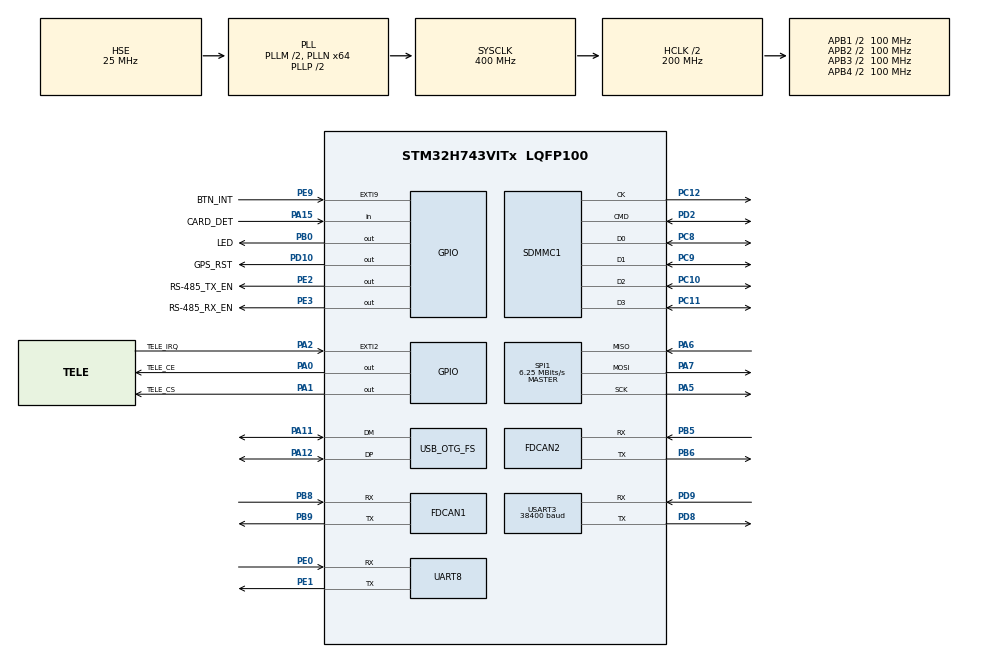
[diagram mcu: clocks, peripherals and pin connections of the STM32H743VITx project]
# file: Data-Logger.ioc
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Dma.Request0=USART3_RX
Dma.USART3_RX.0.Direction=DMA_PERIPH_TO_MEMORY
Dma.USART3_RX.0.EventEnable=DISABLE
Dma.USART3_RX.0.FIFOMode=DMA_FIFOMODE_DISABLE
Dma.USART3_RX.0.Instance=DMA1_Stream1
Dma.USART3_RX.0.MemDataAlignment=DMA_MDATAALIGN_BYTE
Dma.USART3_RX.0.MemInc=DMA_MINC_ENABLE
Dma.USART3_RX.0.Mode=DMA_CIRCULAR
Dma.USART3_RX.0.PeriphDataAlignment=DMA_PDATAALIGN_BYTE
Dma.USART3_RX.0.PeriphInc=DMA_PINC_DISABLE
Dma.USART3_RX.0.Polarity=HAL_DMAMUX_REQ_GEN_RISING
Dma.USART3_RX.0.Priority=DMA_PRIORITY_LOW
Dma.USART3_RX.0.RequestNumber=1
Dma.USART3_RX.0.SignalID=NONE
Dma.USART3_RX.0.SyncEnable=DISABLE
Dma.USART3_RX.0.SyncPolarity=HAL_DMAMUX_SYNC_NO_EVENT
Dma.USART3_RX.0.SyncRequestNumber=1
Dma.USART3_RX.0.SyncSignalID=NONE
FATFS.BSP.number=1
FATFS.USE_DMA_CODE_SD=1
FATFS._MAX_SS=512
FATFS._MIN_SS=512
FATFS0.BSP.STBoard=false
FATFS0.BSP.api=Unknown
FATFS0.BSP.i2caddr=0
FATFS0.BSP.instance=PA15 (JTDI)
FATFS0.BSP.ip=GPIO
FATFS0.BSP.mode=Input
FATFS0.BSP.name=Detect_SDIO
FATFS0.BSP.solution=PA15 (JTDI)
FDCAN1.DataPrescaler=10
FDCAN1.DataSyncJumpWidth=1
FDCAN1.DataTimeSeg1=3
FDCAN1.DataTimeSeg2=3
FDCAN1.ExtFiltersNbr=2
FDCAN1.FrameFormat=FDCAN_FRAME_CLASSIC
FDCAN1.NominalPrescaler=10
FDCAN1.NominalSyncJumpWidth=1
FDCAN1.NominalTimeSeg1=3
FDCAN1.NominalTimeSeg2=3
FDCAN1.RxFifo0ElmtSize=FDCAN_DATA_BYTES_64
FDCAN1.RxFifo0ElmtsNbr=64
FDCAN1.StdFiltersNbr=2
Mcu.Family=STM32H7
Mcu.Name=STM32H743VITx
Mcu.Package=LQFP100
NVIC.DMA1_Stream1_IRQn=true\:0\:0\:false\:false\:true\:false\:true
NVIC.EXTI9_5_IRQn=true\:0\:0\:false\:false\:true\:true\:true
NVIC.FDCAN1_IT0_IRQn=true\:0\:0\:false\:false\:true\:true\:true
NVIC.FDCAN1_IT1_IRQn=true\:0\:0\:false\:false\:true\:true\:true
NVIC.OTG_FS_IRQn=true\:0\:0\:false\:false\:true\:false\:true
NVIC.PVD_AVD_IRQn=true\:0\:0\:false\:false\:true\:true\:true
NVIC.PriorityGroup=NVIC_PRIORITYGROUP_4
NVIC.SDMMC1_IRQn=true\:0\:0\:false\:false\:true\:true\:true
PA0.GPIO_Label=TELE_CE
PA0.Signal=GPIO_Output
PA1.GPIO_Label=TELE_CS
PA1.Signal=GPIO_Output
PA11.Mode=Device_Only
PA11.Signal=USB_OTG_FS_DM
PA12.Mode=Device_Only
PA12.Signal=USB_OTG_FS_DP
PA13\ (JTMS/SWDIO).Mode=Trace_Asynchronous_SW
PA13\ (JTMS/SWDIO).Signal=DEBUG_JTMS-SWDIO
PA14\ (JTCK/SWCLK).Mode=Trace_Asynchronous_SW
PA14\ (JTCK/SWCLK).Signal=DEBUG_JTCK-SWCLK
PA15\ (JTDI).GPIO_Label=CARD_DET
PA15\ (JTDI).Signal=GPIO_Input
PA2.GPIO_Label=TELE_IRQ
PA2.Signal=GPXTI2
PA5.GPIO_Speed=GPIO_SPEED_FREQ_VERY_HIGH
PA5.Mode=Full_Duplex_Master
PA5.Signal=SPI1_SCK
PA6.GPIO_Speed=GPIO_SPEED_FREQ_VERY_HIGH
PA6.Mode=Full_Duplex_Master
PA6.Signal=SPI1_MISO
PA7.GPIO_Speed=GPIO_SPEED_FREQ_VERY_HIGH
PA7.Mode=Full_Duplex_Master
PA7.Signal=SPI1_MOSI
PB0.GPIO_Label=LED
PB0.Signal=GPIO_Output
PB3\ (JTDO/TRACESWO).Mode=Trace_Asynchronous_SW
PB3\ (JTDO/TRACESWO).Signal=DEBUG_JTDO-SWO
PB5.Mode=FDCAN_Activate
PB5.Signal=FDCAN2_RX
PB6.Mode=FDCAN_Activate
PB6.Signal=FDCAN2_TX
PB8.GPIO_FM8=SYSCFG_PMCR_I2C_PB8_FMP
PB8.GPIO_Speed=GPIO_SPEED_FREQ_VERY_HIGH
PB8.Mode=FDCAN_Activate
PB8.Signal=FDCAN1_RX
PB9.GPIO_FM9=SYSCFG_PMCR_I2C_PB9_FMP
PB9.GPIO_Speed=GPIO_SPEED_FREQ_VERY_HIGH
PB9.Mode=FDCAN_Activate
PB9.Signal=FDCAN1_TX
PC10.GPIO_Speed_High_Default=GPIO_SPEED_FREQ_VERY_HIGH
PC10.Mode=SD_4_bits_Wide_bus
PC10.Signal=SDMMC1_D2
PC11.GPIO_Speed_High_Default=GPIO_SPEED_FREQ_VERY_HIGH
PC11.Mode=SD_4_bits_Wide_bus
PC11.Signal=SDMMC1_D3
PC12.GPIO_Speed_High_Default=GPIO_SPEED_FREQ_VERY_HIGH
PC12.Mode=SD_4_bits_Wide_bus
PC12.Signal=SDMMC1_CK
PC14-OSC32_IN\ (OSC32_IN).Mode=LSE-External-Oscillator
PC14-OSC32_IN\ (OSC32_IN).Signal=RCC_OSC32_IN
PC15-OSC32_OUT\ (OSC32_OUT).Mode=LSE-External-Oscillator
PC15-OSC32_OUT\ (OSC32_OUT).Signal=RCC_OSC32_OUT
PC8.GPIO_Speed_High_Default=GPIO_SPEED_FREQ_VERY_HIGH
PC8.Mode=SD_4_bits_Wide_bus
PC8.Signal=SDMMC1_D0
PC9.GPIO_Speed_High_Default=GPIO_SPEED_FREQ_VERY_HIGH
PC9.Mode=SD_4_bits_Wide_bus
PC9.Signal=SDMMC1_D1
PD10.GPIO_Label=GPS_RST
PD10.PinState=GPIO_PIN_SET
PD10.Signal=GPIO_Output
PD2.GPIO_Speed_High_Default=GPIO_SPEED_FREQ_VERY_HIGH
PD2.Mode=SD_4_bits_Wide_bus
PD2.Signal=SDMMC1_CMD
PD8.Mode=Asynchronous
PD8.Signal=USART3_TX
PD9.Mode=Asynchronous
PD9.Signal=USART3_RX
PE0.Mode=Asynchronous
PE0.Signal=UART8_RX
PE1.Mode=Asynchronous
PE1.Signal=UART8_TX
PE2.GPIO_Label=RS-485_TX_EN
PE2.Signal=GPIO_Output
PE3.GPIO_Label=RS-485_RX_EN
PE3.Signal=GPIO_Output
PE9.GPIO_Label=BTN_INT
PE9.Signal=GPXTI9
PH0-OSC_IN\ (PH0).Mode=HSE-External-Oscillator
PH0-OSC_IN\ (PH0).Signal=RCC_OSC_IN
PH1-OSC_OUT\ (PH1).Mode=HSE-External-Oscillator
PH1-OSC_OUT\ (PH1).Signal=RCC_OSC_OUT
PWR.Mode=PWR_PVD_MODE_IT_RISING
PWR.PVDLevel=PWR_PVDLEVEL_6
ProjectManager.HeapSize=0x200
ProjectManager.StackSize=0x400
ProjectManager.TargetToolchain=STM32CubeIDE
RCC.ADCFreq_Value=50000000
RCC.APB1Freq_Value=100000000
RCC.APB2Freq_Value=100000000
RCC.APB3Freq_Value=100000000
RCC.APB4Freq_Value=100000000
RCC.CortexFreq_Value=400000000
RCC.D1PPRE=RCC_APB3_DIV2
RCC.D2PPRE1=RCC_APB1_DIV2
RCC.D2PPRE2=RCC_APB2_DIV2
RCC.D3PPRE=RCC_APB4_DIV2
RCC.DIVM1=2
RCC.DIVM2=2
RCC.DIVN1=64
RCC.DIVN2=12
RCC.DIVP2=3
RCC.DIVQ1=10
RCC.DIVR2=3
RCC.EnbaleCSS=true
RCC.HCLKFreq_Value=200000000
RCC.HPRE=RCC_HCLK_DIV2
RCC.HSE_VALUE=25000000
RCC.LSE_Drive_Capability=RCC_LSEDRIVE_HIGH
RCC.PLL2FRACN=0
RCC.PLL3FRACN=0
RCC.PLLFRACN=0
RCC.PLLSourceVirtual=RCC_PLLSOURCE_HSE
RCC.RTCClockSelection=RCC_RTCCLKSOURCE_LSE
RCC.SDMMC1CLockSelection=RCC_SDMMCCLKSOURCE_PLL2
RCC.SPI123CLockSelection=RCC_SPI123CLKSOURCE_PLL2
RCC.SYSCLKFreq_VALUE=400000000
RCC.SYSCLKSource=RCC_SYSCLKSOURCE_PLLCLK
RCC.USBCLockSelection=RCC_USBCLKSOURCE_HSI48
RCC.USBFreq_Value=48000000
RTC.AsynchPrediv=1
RTC.Format=RTC_FORMAT_BIN
RTC.SynchPrediv=16388
SDMMC1.ClockDiv=0
SDMMC1.HardwareFlowControl=SDMMC_HARDWARE_FLOW_CONTROL_ENABLE
SPI1.BaudRatePrescaler=SPI_BAUDRATEPRESCALER_8
SPI1.CalculateBaudRate=6.25 MBits/s
SPI1.DataSize=SPI_DATASIZE_8BIT
SPI1.Direction=SPI_DIRECTION_2LINES
SPI1.Mode=SPI_MODE_MASTER
SPI1.VirtualType=VM_MASTER
USART3.BaudRate=38400
USART3.VirtualMode-Asynchronous=VM_ASYNC
USB_DEVICE.CLASS_NAME_FS=MSC
USB_DEVICE.MSC_MEDIA_PACKET-MSC_FS=32768
USB_DEVICE.VirtualMode-MSC_FS=Msc
USB_DEVICE.VirtualModeFS=Msc_FS
USB_OTG_FS.VirtualMode=Device_Only
VP_FATFS_VS_SDIO.Mode=SDIO
VP_PWR_V_PVD_IN.Mode=Mode_PVD_Int
VP_RTC_VS_RTC_Activate.Mode=RTC_Enabled
VP_RTC_VS_RTC_Calendar.Mode=RTC_Calendar
VP_USB_DEVICE_VS_USB_DEVICE_MSC_FS.Mode=MSC_FS
board=custom

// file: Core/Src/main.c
/* USER CODE BEGIN Header */
/**
  ******************************************************************************
  * @file           : main.c
  * @brief          : Main program body
  ******************************************************************************
  * @attention
  *
  * <h2><center>&copy; Copyright (c) 2021 STMicroelectronics.
  * All rights reserved.</center></h2>
  *
  * This software component is licensed by ST under BSD 3-Clause license,
  * the "License"; You may not use this file except in compliance with the
  * License. You may obtain a copy of the License at:
  *                        opensource.org/licenses/BSD-3-Clause
  *
  ******************************************************************************
  */
/* USER CODE END Header */
#include "main.h"
#include "fatfs.h"
#include "usb_device.h"

/* USER CODE BEGIN Includes */
#include <GPS.h>
#include <CANFD.h>
#include <myprintf.h>
#include <buffer.h>
#include "MY_NRF24.h"
/* USER CODE END Includes */

/* USER CODE BEGIN PTD */
RTC_TimeTypeDef sTime = {0};
RTC_DateTypeDef sDate = {0};

/* USER CODE END PTD */

FDCAN_HandleTypeDef hfdcan1;
FDCAN_HandleTypeDef hfdcan2;

RTC_HandleTypeDef hrtc;

SD_HandleTypeDef hsd1;

SPI_HandleTypeDef hspi1;

UART_HandleTypeDef huart8;
UART_HandleTypeDef huart3;
DMA_HandleTypeDef hdma_usart3_rx;

/* USER CODE BEGIN PV */

FATFS myFATAFS;
FIL myFILE;
FIL Config;
UINT ConfByteR;
UINT ConfByteW;
UINT testByte;

char rxBuf[BUFFLENGTH];

FDCAN_RxHeaderTypeDef RxHeader;
ReadInstruction Configs[100]; //Arbitrarily set known packet limit to 100

CAN_FRAME CanFrame;
CAN_FD_FRAME CanFDFrame;

/* USER CODE END PV */

void SystemClock_Config(void);
static void MX_GPIO_Init(void);
static void MX_DMA_Init(void);
static void MX_SDMMC1_SD_Init(void);
static void MX_FDCAN1_Init(void);
static void MX_FDCAN2_Init(void);
static void MX_UART8_Init(void);
static void MX_USART3_UART_Init(void);
static void MX_SPI1_Init(void);
static void MX_RTC_Init(void);

/* USER CODE BEGIN 0 */
//Telemetry stuff
uint64_t TxpipeAddrs = 0x11223344AA;
char myTxData[32];

int end_flag = 1;
char close_msg[] = "\n\r emergency shutdown";
int fileNum = 1;
/* USER CODE END 0 */

int main(void)
{

  /* MCU Configuration--------------------------------------------------------*/

  /* Reset of all peripherals, Initializes the Flash interface and the Systick. */
  HAL_Init();

  /* Configure the system clock */
  SystemClock_Config();

  /* Initialize all configured peripherals */
  MX_GPIO_Init();
  MX_DMA_Init();
  MX_SDMMC1_SD_Init();
  MX_FATFS_Init();
  MX_USB_DEVICE_Init();
  MX_FDCAN1_Init();
  MX_FDCAN2_Init();
  MX_UART8_Init();
  MX_USART3_UART_Init();
  MX_SPI1_Init();
  MX_RTC_Init();
  /* USER CODE BEGIN 2 */
  //HAL_Delay(1000);//NEEDED FOR USB MASS STORAGE TO WORK
  HAL_GPIO_TogglePin(GPIOB, GPIO_PIN_0);
  //Telemetry
  NRF24_begin(TELE_CE_GPIO_Port, TELE_CS_Pin, TELE_CE_Pin, hspi1);
    //nrf24_DebugUART_Init(huart3);

    // TRANSMIT NO ACK //
    NRF24_stopListening();
    NRF24_openWritingPipe(TxpipeAddrs);
    NRF24_setAutoAck(false);
    NRF24_setChannel(42);
    NRF24_setPayloadSize(32);

    printRadioSettings();
  //END Telemetry
  printf("Starting\n");
  FDCAN_Config(&hfdcan1);
  //GPS DMA
  HAL_UART_Receive_DMA(&huart3, (uint8_t *)rxBuf, BUFFLENGTH);
  HAL_Delay(1000);//GPS required this in testing, maybe remove?
  //variables required for 10Hz GPS
  uint16_t measRate = 100;
  uint16_t navRate = 1;
  uint16_t timeRef = 0;
  gps_rate_config(&huart3, measRate, navRate, timeRef);

  gps_msg_config(&huart3, "DTM", 0);//ERROR
  gps_msg_config(&huart3, "GAQ", 0);
  gps_msg_config(&huart3, "GBQ", 0);
  gps_msg_config(&huart3, "GBS", 0);//ERROR
  gps_msg_config(&huart3, "GGA", 0);//ERROR
  gps_msg_config(&huart3, "GLL", 0);//ERROR
  gps_msg_config(&huart3, "GLQ", 0);
  gps_msg_config(&huart3, "GNQ", 0);
  gps_msg_config(&huart3, "GNS", 0);//ERROR
  gps_msg_config(&huart3, "GPQ", 0);
  gps_msg_config(&huart3, "GRS", 0);//ERROR
  gps_msg_config(&huart3, "GSA", 0);//ERROR
  gps_msg_config(&huart3, "GST", 0);//ERROR
  gps_msg_config(&huart3, "GSV", 0);//ERROR
  gps_msg_config(&huart3, "RLM", 0);
  gps_msg_config(&huart3, "RMC", 1);//ERROR
  gps_msg_config(&huart3, "TXT", 0);
  gps_msg_config(&huart3, "VLW", 0);//ERROR
  gps_msg_config(&huart3, "VTG", 0);//ERROR
  gps_msg_config(&huart3, "ZDA", 0);//ERROR

  if(f_mount(&myFATAFS, SDPath, 1) == FR_OK){
  	  //HAL_GPIO_TogglePin(GPIOB, GPIO_PIN_0);
  	  char Filename[20] = "test";
      char FilePath[150];
      char ConfigPath[] ="Config.csv\0";
      char ConfigParams[20000] = {0};
      //Tries to open config File
      if(f_open(&Config, ConfigPath, FA_READ) == FR_NO_FILE){
        //If file doesn't exist creates a file using hard coded defaults and passes those to internal config array
        f_open(&Config, ConfigPath, FA_WRITE | FA_CREATE_ALWAYS);

        sprintf(ConfigParams, "ID(HEX),Device,Bytes,Distribution,Instruction,Description,\n");
        sprintf(ConfigParams + strlen(ConfigParams),"50,Datalogger,8,44,%%u %%u,FileNumber(uint32_t) CurrentMillis(uint32_t),\n");
        sprintf(ConfigParams + strlen(ConfigParams),"60,Wheel Speed FL,4,4,%%u,MPH,\n");
        sprintf(ConfigParams + strlen(ConfigParams),"61,Wheel Speed FR,4,4,%%u,MPH,\n");
        sprintf(ConfigParams + strlen(ConfigParams),"62,Wheel Speed BL,4,4,%%u,MPH,\n");
        sprintf(ConfigParams + strlen(ConfigParams),"63,Wheel Speed BR,4,4,%%u,MPH,\n");
        sprintf(ConfigParams + strlen(ConfigParams),"500,Brake Pressure Front,8,44,%%u %%u,MPH,\n");
        sprintf(ConfigParams + strlen(ConfigParams),"501,Brake Pressure Back,8,44,%%u %%u,MPH,\n");
        sprintf(ConfigParams + strlen(ConfigParams),"504,Coolant Pressure,8,44,%%f %%f,coolant pressure,\n");
        sprintf(ConfigParams + strlen(ConfigParams),"503,Exhaust Temperature,8,2222,%%i %%i %%i %%i,temp degree c,\n");
        sprintf(ConfigParams + strlen(ConfigParams),"505,Exhaust Temperature error,8,2222,%%i %%i %%i %%i,error,\n");
        sprintf(ConfigParams + strlen(ConfigParams),"502,Steering Position,2,2,%%i,degrees,\n");
        sprintf(ConfigParams + strlen(ConfigParams),"2000,ECU,8,2222,%%i %%i %%i %%i,RPM-TPS(%%)-Coolant temp(C)-MAT(C),\n");
        sprintf(ConfigParams + strlen(ConfigParams),"2001,ECU,8,2222,%%i %%i %%i %%i,MAP(kPa)-Lambda x1000-KPH x10-Oil Pressure(kPa),\n");
        sprintf(ConfigParams + strlen(ConfigParams),"2002,ECU,8,2222,%%i %%i %%i %%i,Fuel Pressure(Kpa)-Oil Temperature(C)-Volts x10-Fuel Consumption(L/100Km x 10),\n");
        sprintf(ConfigParams + strlen(ConfigParams),"2003,ECU,8,2222,%%i %%i %%i %%i,Gear-Advance Deg x10-Injection ms x100-Fuel Consumption L/Hr x10,\n");
        sprintf(ConfigParams + strlen(ConfigParams),"2004,ECU,8,2222,%%i %%i %%i %%i,Ana1 mV-Ana2 mV-Ana3 mV-Cam Advance x10,\n");
        sprintf(ConfigParams + strlen(ConfigParams),"2005,ECU,8,2222,%%i %%i %%i %%i,Cam Targ x10-Cam PWM x10-Crank Errors-Cam Error,\n");
        sprintf(ConfigParams + strlen(ConfigParams),"90,Power board,4,4,%%f,Current 1 (A),\n");
        sprintf(ConfigParams + strlen(ConfigParams),"91,Power board,4,4,%%f,Current 2 (A),\n");
        sprintf(ConfigParams + strlen(ConfigParams),"92,Power board,4,4,%%f,Current 3 (A),\n");
        sprintf(ConfigParams + strlen(ConfigParams),"93,Power board,4,4,%%f,Current 4 (A),\n");
        sprintf(ConfigParams + strlen(ConfigParams),"94,Power board,4,4,%%f,Current 5 (A),\n");
        sprintf(ConfigParams + strlen(ConfigParams),"95,Power board,4,4,%%f,Current 6 (A),\n");
        sprintf(ConfigParams + strlen(ConfigParams),"96,Power board,4,4,%%f,Current 7 (A),\n");
        sprintf(ConfigParams + strlen(ConfigParams),"97,Power board,4,4,%%f,Current 8 (A),\n");
        sprintf(ConfigParams + strlen(ConfigParams),"98,Power board,4,4,%%f,Current 9 (A),\n");
        sprintf(ConfigParams + strlen(ConfigParams),"99,Power board,4,4,%%f,Current 10 (A),\n");
        sprintf(ConfigParams + strlen(ConfigParams),"9A,Power board,4,4,%%f,Current 11 (A),\n");
        sprintf(ConfigParams + strlen(ConfigParams),"9B,Power board,4,4,%%f,Current 12 (A),\n");
        sprintf(ConfigParams + strlen(ConfigParams),"9C,Power board,4,4,%%f,Current 13 (A),\n");
        sprintf(ConfigParams + strlen(ConfigParams),"9D,Power board,4,4,%%f,Current 14 (A),\n");
        sprintf(ConfigParams + strlen(ConfigParams),"9E,Power board,4,4,%%f,Current 15 (A),\n");
        sprintf(ConfigParams + strlen(ConfigParams),"9F,Power board,4,4,%%f,Current 16 (A),\n");
        sprintf(ConfigParams + strlen(ConfigParams),"180,Pressure sensor,8,2222,%%u %%u %%u %%u,Pressure1-Pressure2-Pressure3-Pressure4,\n");
        sprintf(ConfigParams + strlen(ConfigParams),"181,Pressure sensor,8,2222,%%u %%u %%u %%u,Pressure5-Pressure6-Pressure7-Pressure8,\n");
        sprintf(ConfigParams + strlen(ConfigParams),"182,Pressure sensor,8,1211111,%%i %%u %%u %%u %%u %%u %%u,temp(C)-Sensor No-Range-FirmwareRev),\n");

        f_write(&Config, ConfigParams, strlen(ConfigParams), &ConfByteW);
      }else{
        //If file does exist reads in config parameters to internal config array
        f_read(&Config, ConfigParams, sizeof(ConfigParams), &ConfByteR);
      }
      f_close(&Config);
      printf("%s\n\r", ConfigParams);
      //MAKE NEW FILE INCREMENTED BY 1

      //Fill ReadInstructions
      const char delim[] = ",";
      uint32_t i = 0, j = 0;
      char *ptr = strtok(ConfigParams, delim);
      //skip over header
      for(int c = 0; c < 6; c++){
    	  ptr = strtok(NULL, delim);
      }
      while(ptr != NULL /*&& j < (sizeof(*Configs)/sizeof(ReadInstruction))*/){
        switch(i){
          case 0:
            Configs[j].id = (int)strtol(ptr, NULL, 0);
            break;
          case 2:
            Configs[j].Bytes = atoi(ptr);
            break;
          case 3:
            Configs[j].Distribution = atoi(ptr);
            break;
          case 4:
            sprintf(Configs[j].Intsructions, "%s", ptr);
            break;
          case 6:
            j++;
            Configs[j].id = atoi(ptr);
            i = 0;
            break;
        }

        ptr = strtok(NULL, delim);
        i++;
      }

      strcpy(FilePath,Filename);
      int FilePathLen = strlen(Filename);
      sprintf(FilePath + FilePathLen, "%i.csv",fileNum);
      while(f_open(&myFILE, FilePath, FA_READ) == FR_OK){
    	  f_close(&myFILE);
        fileNum++;
        strcpy(FilePath,Filename);
        sprintf(FilePath + FilePathLen, "%i.csv",fileNum);
      }
      f_open(&myFILE, FilePath, FA_WRITE | FA_CREATE_ALWAYS);

  }

  	  //write speed test
  	  	/*for(int i = 0; i<131072; i++){
  		    DataBuffer.Data.DataBuff1[i] = 'A';
  	    }
  	    int start = HAL_GetTick();
  	    for(int i = 0; i<2048; i++){
  		f_write(&myFILE, DataBuffer.Data.DataBuff1, sizeof(DataBuffer.Data.DataBuff1), &testByte);
        }
  	    int end = HAL_GetTick();
  	    int duration = end - start;
  	    char myTime[200];
  	    sprintf(myTime, "\r%i", duration);
  	    f_write(&myFILE, myTime, strlen(myTime), &testByte);
        f_close(&myFILE);*/

  extern int GPS_flag1;
  extern int GPS_flag2;
  extern int FDCAN_Flag;
  extern int CAN_Flag;

  CAN_FD_FRAME FDBuffer[50] = {0};
  CAN_FRAME Buffer[50] = {0};
  uint32_t Tele_IDs[50] = {0};
  Tele_IDs[0] = 0x321;

  sTime.SecondFraction = 999;
  uint32_t LocalTime = HAL_GetTick();
  HAL_RTC_GetTime(&hrtc, &sTime, RTC_FORMAT_BIN);
  HAL_RTC_GetDate(&hrtc, &sDate, RTC_FORMAT_BIN);

  sTime.SubSeconds -= LocalTime % 1000;
  LocalTime = LocalTime/1000;

  if(sTime.Seconds < LocalTime % 60){
	  sTime.Seconds += 60;
	  sTime.Minutes -= 1;
  }
  sTime.Seconds -= LocalTime % 60;
  LocalTime = LocalTime/60;

  if(sTime.Minutes < LocalTime % 60){
	  sTime.Minutes += 60;
	  sTime.Hours -= 1;
  }
  sTime.Minutes -= LocalTime % 60;
  LocalTime = LocalTime/60;
  sTime.Hours -= LocalTime % 60;
  /* USER CODE END 2 */

  /* Infinite loop */
  /* USER CODE BEGIN WHILE */
  char CanWrite[500];
  int CW = 0;
  char CanFDWrite[1000];
  int CFDW = 0;
  int AllowedTele = 1;
  int BuffIndex = 0;
  int Txcnt = 0;
  int TxDataSpace = 0;
  uint32_t LoopTime = 10; //time a loop should take (this is aguess should test avg time)
  uint32_t StartTime = 0;
  uint32_t EndTime = 0;
  uint32_t radiodelay = 1000;
  uint32_t r_start = 0;
  uint32_t r_end = 0;
  r_start = HAL_GetTick();

  while (end_flag){
    StartTime = HAL_GetTick();

	  if(GPS_flag1){
		  WriteToBuff(rxBuf, BUFFLENGTH/2);
		  GPS_flag1=0;
	  }

    if(GPS_flag2){
		  WriteToBuff(rxBuf+BUFFLENGTH/2, BUFFLENGTH/2);
		  GPS_flag2=0;
	  }

    r_end = HAL_GetTick();
    if(r_start - r_end > radiodelay && FDBuffer[0].id != 0){
      r_start = HAL_GetTick();
      for(int i = 0; i < AllowedTele; i++){
        //make packet (Time ID data)
        Txcnt = sprintf(myTxData,"%u %x ",FDBuffer[BuffIndex].time, FDBuffer[BuffIndex].id);
        TxDataSpace = 32 - Txcnt;
        if(FDBuffer[BuffIndex].length > TxDataSpace){
          for(int i = 0; i < TxDataSpace; i++){
            Txcnt += sprintf(myTxData + Txcnt, "%c", FDBuffer[BuffIndex].data.bytes[i]);
          }
          NRF24_write(myTxData, 32);
          Txcnt = 0;
          if(FDBuffer[BuffIndex].length - TxDataSpace > 32){
            for(int i = 0; i < 32; i++){
              Txcnt += sprintf(myTxData + Txcnt, "%c", FDBuffer[BuffIndex].data.bytes[i + TxDataSpace]);
            }
            Txcnt = 0;
            i++;
            NRF24_write(myTxData, 32);
            for(int i = 0; i < FDBuffer[BuffIndex].length - TxDataSpace+32; i++){
              Txcnt += sprintf(myTxData + Txcnt, "%c", FDBuffer[BuffIndex].data.bytes[i + TxDataSpace + 32]);
            }
            i++;
            NRF24_write(myTxData, 32);
          }else{
            Txcnt = 0;
            for(int i = 0; i < FDBuffer[BuffIndex].length - TxDataSpace; i++){
              Txcnt += sprintf(myTxData + Txcnt, "%c", FDBuffer[BuffIndex].data.bytes[i + TxDataSpace]);
            }
            i++;
            NRF24_write(myTxData, FDBuffer[BuffIndex].length - TxDataSpace);
          }
        }
        else{
          for(int i = 0; i < FDBuffer[BuffIndex].length; i++){
            Txcnt += sprintf(myTxData + Txcnt, "%c", FDBuffer[BuffIndex].data.bytes[i]);
          }
          NRF24_write(myTxData, 32);//FDBuffer[BuffIndex].length + (32 - TxDataSpace)
        }
        BuffIndex++;
        if(FDBuffer[BuffIndex].id == 0){
          BuffIndex = 0;
        }
      }
    }
    // if(NRF24_write(myTxData, 32)){
		//   	  printf("TeleSending\n\r");
	  // 		  HAL_GPIO_TogglePin(GPIOB, GPIO_PIN_0);
	  // 		  HAL_Delay(1000);
	  // 	  }
	  /*HAL_RTC_GetTime(&hrtc, &sTime, RTC_FORMAT_BIN);
	  HAL_RTC_GetDate(&hrtc, &sDate, RTC_FORMAT_BIN);

	  printf("Date:%u Month:%u Year:%u\n", sDate.Date, sDate.Month, sDate.Year);
	  printf("Hours:%u Minutes:%u Seconds:%u\n", sTime.Hours, sTime.Minutes, sTime.Seconds);*/

	  if(FDCAN_Flag){

		  RTC_TimeTypeDef lTime = sTime;
		  LocalTime = CanFDFrame.time;
		  uint32_t milliseconds = LocalTime % 1000;
		  LocalTime = LocalTime/1000;
		  lTime.Seconds += LocalTime % 60;
		  if(lTime.Seconds >= 60){
			  lTime.Seconds -= 60;
			  lTime.Minutes += 1;
		  }
		  LocalTime = LocalTime/60;
		  lTime.Minutes += LocalTime % 60;
		  if(lTime.Minutes >= 60){
			  lTime.Minutes -= 60;
			  lTime.Hours += 1;
		  }
		  LocalTime = LocalTime/60;
		  lTime.Hours += LocalTime % 60;
      //Write to SD Card
		  //date/time, CANID, Data
		  CFDW = sprintf(CanFDWrite, "%u.%u.%u %u:%u:%u.%u,0x%X,",
				  sDate.Date,sDate.Month,sDate.Year, lTime.Hours,lTime.Minutes,lTime.Seconds,milliseconds,
				  CanFDFrame.id);

		  CFDW = CANFD_Data_Process(CanFDWrite, CFDW);

		  CFDW += sprintf(CanFDWrite + CFDW, "\n\r");
		  WriteToBuff(CanFDWrite, CFDW);

      //Write to telemetry buffer

      for(int i = 0; i <50; i++){
        if(CanFDFrame.id == Tele_IDs[i]){ //check if frame should be checked
          for(int j = 0; j < 50; j++){
            if(FDBuffer[j].id == CanFDFrame.id){
              FDBuffer[j] = CanFDFrame;
              goto TeleDoneFD;
            }
            if(FDBuffer[j].id == 0){
              FDBuffer[j] = CanFDFrame;
              goto TeleDoneFD;
            }
          }
        }
      }
TeleDoneFD:
		  FDCAN_Flag = 0;
	  }
	  if(CAN_Flag){

		  RTC_TimeTypeDef lTime = sTime;
		  LocalTime = CanFrame.time;
		  lTime.SubSeconds += LocalTime % 1000;
		  LocalTime = LocalTime/1000;
		  lTime.Seconds += LocalTime % 60;
		  if(lTime.Seconds >= 60){
			  lTime.Seconds -= 60;
			  lTime.Minutes += 1;
		  }
		  LocalTime = LocalTime/60;
		  lTime.Minutes += LocalTime % 60;
		  if(lTime.Minutes >= 60){
			  lTime.Minutes -= 60;
			  lTime.Hours += 1;
		  }
		  LocalTime = LocalTime/60;
		  lTime.Hours += LocalTime % 60;

		  //date/time, CANID, Data
		  CW = sprintf(CanWrite, "%u.%u.%u %u:%u:%u.%u,0x%X,",
				  sDate.Date,sDate.Month,sDate.Year, lTime.Hours,lTime.Minutes,lTime.Seconds,lTime.SubSeconds,
				  CanFrame.id);

		  CW = CAN_Data_Process(CanWrite, CW);

		  CW += sprintf(CanWrite + CW, "\n\r");
		  WriteToBuff(CanWrite, CW);

      for(int i = 0; i <50; i++){
        if(CanFrame.id == Tele_IDs[i]){ //check if frame should be checked
          for(int j = 0; j < 50; j++){
            if(Buffer[j].id == CanFrame.id){
              Buffer[j] = CanFrame;     //if its already in the buffer replace it
              goto TeleDone;
            }
            if(Buffer[j].id == 0){
              Buffer[j] = CanFrame;     //if you get to the end of the defined packets withoout finding anything add the packet on the end
              goto TeleDone;
            }
          }
        }
      }
      printf("couldnt track, id buffer too full :(");
TeleDone:
		  CAN_Flag = 0;
	  }
	  //WriteToBuff(A, 2);
	  //HAL_Delay(1000);
	  //HAL_GPIO_TogglePin(LED_GPIO_Port, LED_Pin);
    /* USER CODE END WHILE */

    /* USER CODE BEGIN 3 */
}

    //f_write(&myFILE, close_msg, strlen(close_msg), &testByte);
    //f_close(&myFILE);
    HAL_GPIO_TogglePin(GPIOB, GPIO_PIN_0);
    //printf("File closed\n");

  /* USER CODE END 3 */
}

void SystemClock_Config(void)
{
  RCC_OscInitTypeDef RCC_OscInitStruct = {0};
  RCC_ClkInitTypeDef RCC_ClkInitStruct = {0};
  RCC_PeriphCLKInitTypeDef PeriphClkInitStruct = {0};

  /** Supply configuration update enable
  */
  HAL_PWREx_ConfigSupply(PWR_LDO_SUPPLY);
  /** Configure the main internal regulator output voltage
  */
  __HAL_PWR_VOLTAGESCALING_CONFIG(PWR_REGULATOR_VOLTAGE_SCALE1);

  while(!__HAL_PWR_GET_FLAG(PWR_FLAG_VOSRDY)) {}
  /** Configure LSE Drive Capability
  */
  HAL_PWR_EnableBkUpAccess();
  __HAL_RCC_LSEDRIVE_CONFIG(RCC_LSEDRIVE_HIGH);
  /** Macro to configure the PLL clock source
  */
  __HAL_RCC_PLL_PLLSOURCE_CONFIG(RCC_PLLSOURCE_HSE);
  /** Initializes the RCC Oscillators according to the specified parameters
  * in the RCC_OscInitTypeDef structure.
  */
  RCC_OscInitStruct.OscillatorType = RCC_OSCILLATORTYPE_HSI48|RCC_OSCILLATORTYPE_HSE
                              |RCC_OSCILLATORTYPE_LSE;
  RCC_OscInitStruct.HSEState = RCC_HSE_ON;
  RCC_OscInitStruct.LSEState = RCC_LSE_ON;
  RCC_OscInitStruct.HSI48State = RCC_HSI48_ON;
  RCC_OscInitStruct.PLL.PLLState = RCC_PLL_ON;
  RCC_OscInitStruct.PLL.PLLSource = RCC_PLLSOURCE_HSE;
  RCC_OscInitStruct.PLL.PLLM = 2;
  RCC_OscInitStruct.PLL.PLLN = 64;
  RCC_OscInitStruct.PLL.PLLP = 2;
  RCC_OscInitStruct.PLL.PLLQ = 10;
  RCC_OscInitStruct.PLL.PLLR = 2;
  RCC_OscInitStruct.PLL.PLLRGE = RCC_PLL1VCIRANGE_3;
  RCC_OscInitStruct.PLL.PLLVCOSEL = RCC_PLL1VCOWIDE;
  RCC_OscInitStruct.PLL.PLLFRACN = 0;
  if (HAL_RCC_OscConfig(&RCC_OscInitStruct) != HAL_OK)
  {
    Error_Handler();
  }
  /** Initializes the CPU, AHB and APB buses clocks
  */
  RCC_ClkInitStruct.ClockType = RCC_CLOCKTYPE_HCLK|RCC_CLOCKTYPE_SYSCLK
                              |RCC_CLOCKTYPE_PCLK1|RCC_CLOCKTYPE_PCLK2
                              |RCC_CLOCKTYPE_D3PCLK1|RCC_CLOCKTYPE_D1PCLK1;
  RCC_ClkInitStruct.SYSCLKSource = RCC_SYSCLKSOURCE_PLLCLK;
  RCC_ClkInitStruct.SYSCLKDivider = RCC_SYSCLK_DIV1;
  RCC_ClkInitStruct.AHBCLKDivider = RCC_HCLK_DIV2;
  RCC_ClkInitStruct.APB3CLKDivider = RCC_APB3_DIV2;
  RCC_ClkInitStruct.APB1CLKDivider = RCC_APB1_DIV2;
  RCC_ClkInitStruct.APB2CLKDivider = RCC_APB2_DIV2;
  RCC_ClkInitStruct.APB4CLKDivider = RCC_APB4_DIV2;

  if (HAL_RCC_ClockConfig(&RCC_ClkInitStruct, FLASH_LATENCY_2) != HAL_OK)
  {
    Error_Handler();
  }
  PeriphClkInitStruct.PeriphClockSelection = RCC_PERIPHCLK_RTC|RCC_PERIPHCLK_USART3
                              |RCC_PERIPHCLK_FDCAN|RCC_PERIPHCLK_UART8
                              |RCC_PERIPHCLK_SPI1|RCC_PERIPHCLK_SDMMC
                              |RCC_PERIPHCLK_USB;
  PeriphClkInitStruct.PLL2.PLL2M = 2;
  PeriphClkInitStruct.PLL2.PLL2N = 12;
  PeriphClkInitStruct.PLL2.PLL2P = 3;
  PeriphClkInitStruct.PLL2.PLL2Q = 2;
  PeriphClkInitStruct.PLL2.PLL2R = 3;
  PeriphClkInitStruct.PLL2.PLL2RGE = RCC_PLL2VCIRANGE_3;
  PeriphClkInitStruct.PLL2.PLL2VCOSEL = RCC_PLL2VCOMEDIUM;
  PeriphClkInitStruct.PLL2.PLL2FRACN = 0;
  PeriphClkInitStruct.SdmmcClockSelection = RCC_SDMMCCLKSOURCE_PLL2;
  PeriphClkInitStruct.Spi123ClockSelection = RCC_SPI123CLKSOURCE_PLL2;
  PeriphClkInitStruct.FdcanClockSelection = RCC_FDCANCLKSOURCE_PLL;
  PeriphClkInitStruct.Usart234578ClockSelection = RCC_USART234578CLKSOURCE_D2PCLK1;
  PeriphClkInitStruct.UsbClockSelection = RCC_USBCLKSOURCE_HSI48;
  PeriphClkInitStruct.RTCClockSelection = RCC_RTCCLKSOURCE_LSE;
  if (HAL_RCCEx_PeriphCLKConfig(&PeriphClkInitStruct) != HAL_OK)
  {
    Error_Handler();
  }
  /** Enables the Clock Security System
  */
  HAL_RCC_EnableCSS();
  /** Enable USB Voltage detector
  */
  HAL_PWREx_EnableUSBVoltageDetector();
}

static void MX_FDCAN1_Init(void)
{

  hfdcan1.Instance = FDCAN1;
  hfdcan1.Init.FrameFormat = FDCAN_FRAME_CLASSIC;
  hfdcan1.Init.Mode = FDCAN_MODE_NORMAL;
  hfdcan1.Init.AutoRetransmission = DISABLE;
  hfdcan1.Init.TransmitPause = DISABLE;
  hfdcan1.Init.ProtocolException = DISABLE;
  hfdcan1.Init.NominalPrescaler = 10;
  hfdcan1.Init.NominalSyncJumpWidth = 1;
  hfdcan1.Init.NominalTimeSeg1 = 3;
  hfdcan1.Init.NominalTimeSeg2 = 4;
  hfdcan1.Init.DataPrescaler = 10;
  hfdcan1.Init.DataSyncJumpWidth = 1;
  hfdcan1.Init.DataTimeSeg1 = 3;
  hfdcan1.Init.DataTimeSeg2 = 4;
  hfdcan1.Init.MessageRAMOffset = 0;
  hfdcan1.Init.StdFiltersNbr = 2;
  hfdcan1.Init.ExtFiltersNbr = 2;
  hfdcan1.Init.RxFifo0ElmtsNbr = 64;
  hfdcan1.Init.RxFifo0ElmtSize = FDCAN_DATA_BYTES_64;
  hfdcan1.Init.RxFifo1ElmtsNbr = 0;
  hfdcan1.Init.RxFifo1ElmtSize = FDCAN_DATA_BYTES_8;
  hfdcan1.Init.RxBuffersNbr = 0;
  hfdcan1.Init.RxBufferSize = FDCAN_DATA_BYTES_8;
  hfdcan1.Init.TxEventsNbr = 0;
  hfdcan1.Init.TxBuffersNbr = 0;
  hfdcan1.Init.TxFifoQueueElmtsNbr = 0;
  hfdcan1.Init.TxFifoQueueMode = FDCAN_TX_FIFO_OPERATION;
  hfdcan1.Init.TxElmtSize = FDCAN_DATA_BYTES_8;
  if (HAL_FDCAN_Init(&hfdcan1) != HAL_OK)
  {
    Error_Handler();
  }

}

static void MX_FDCAN2_Init(void)
{

  hfdcan2.Instance = FDCAN2;
  hfdcan2.Init.FrameFormat = FDCAN_FRAME_CLASSIC;
  hfdcan2.Init.Mode = FDCAN_MODE_NORMAL;
  hfdcan2.Init.AutoRetransmission = DISABLE;
  hfdcan2.Init.TransmitPause = DISABLE;
  hfdcan2.Init.ProtocolException = DISABLE;
  hfdcan2.Init.NominalPrescaler = 1;
  hfdcan2.Init.NominalSyncJumpWidth = 1;
  hfdcan2.Init.NominalTimeSeg1 = 2;
  hfdcan2.Init.NominalTimeSeg2 = 2;
  hfdcan2.Init.DataPrescaler = 1;
  hfdcan2.Init.DataSyncJumpWidth = 1;
  hfdcan2.Init.DataTimeSeg1 = 1;
  hfdcan2.Init.DataTimeSeg2 = 1;
  hfdcan2.Init.MessageRAMOffset = 0;
  hfdcan2.Init.StdFiltersNbr = 0;
  hfdcan2.Init.ExtFiltersNbr = 0;
  hfdcan2.Init.RxFifo0ElmtsNbr = 0;
  hfdcan2.Init.RxFifo0ElmtSize = FDCAN_DATA_BYTES_8;
  hfdcan2.Init.RxFifo1ElmtsNbr = 0;
  hfdcan2.Init.RxFifo1ElmtSize = FDCAN_DATA_BYTES_8;
  hfdcan2.Init.RxBuffersNbr = 0;
  hfdcan2.Init.RxBufferSize = FDCAN_DATA_BYTES_8;
  hfdcan2.Init.TxEventsNbr = 0;
  hfdcan2.Init.TxBuffersNbr = 0;
  hfdcan2.Init.TxFifoQueueElmtsNbr = 0;
  hfdcan2.Init.TxFifoQueueMode = FDCAN_TX_FIFO_OPERATION;
  hfdcan2.Init.TxElmtSize = FDCAN_DATA_BYTES_8;
  if (HAL_FDCAN_Init(&hfdcan2) != HAL_OK)
  {
    Error_Handler();
  }

}

static void MX_RTC_Init(void)
{

  RTC_TimeTypeDef sTime = {0};
  RTC_DateTypeDef sDate = {0};

  /** Initialize RTC Only
  */
  hrtc.Instance = RTC;
  hrtc.Init.HourFormat = RTC_HOURFORMAT_24;
  hrtc.Init.AsynchPrediv = 1;
  hrtc.Init.SynchPrediv = 16388;
  hrtc.Init.OutPut = RTC_OUTPUT_DISABLE;
  hrtc.Init.OutPutPolarity = RTC_OUTPUT_POLARITY_HIGH;
  hrtc.Init.OutPutType = RTC_OUTPUT_TYPE_OPENDRAIN;
  hrtc.Init.OutPutRemap = RTC_OUTPUT_REMAP_NONE;
  if (HAL_RTC_Init(&hrtc) != HAL_OK)
  {
    Error_Handler();
  }

  /** Initialize RTC and set the Time and Date
  */
  sTime.Hours = 0;
  sTime.Minutes = 0;
  sTime.Seconds = 0;
  sTime.DayLightSaving = RTC_DAYLIGHTSAVING_NONE;
  sTime.StoreOperation = RTC_STOREOPERATION_RESET;
  if (HAL_RTC_SetTime(&hrtc, &sTime, RTC_FORMAT_BIN) != HAL_OK)
  {
    Error_Handler();
  }
  sDate.WeekDay = RTC_WEEKDAY_MONDAY;
  sDate.Month = RTC_MONTH_JANUARY;
  sDate.Date = 1;
  sDate.Year = 0;

  if (HAL_RTC_SetDate(&hrtc, &sDate, RTC_FORMAT_BIN) != HAL_OK)
  {
    Error_Handler();
  }

}

static void MX_SDMMC1_SD_Init(void)
{

  hsd1.Instance = SDMMC1;
  hsd1.Init.ClockEdge = SDMMC_CLOCK_EDGE_RISING;
  hsd1.Init.ClockPowerSave = SDMMC_CLOCK_POWER_SAVE_DISABLE;
  hsd1.Init.BusWide = SDMMC_BUS_WIDE_4B;
  hsd1.Init.HardwareFlowControl = SDMMC_HARDWARE_FLOW_CONTROL_ENABLE;
  hsd1.Init.ClockDiv = 0;
  //hsd1.Init.TranceiverPresent = SDMMC_TRANSCEIVER_NOT_PRESENT;

}

static void MX_SPI1_Init(void)
{

  /* SPI1 parameter configuration*/
  hspi1.Instance = SPI1;
  hspi1.Init.Mode = SPI_MODE_MASTER;
  hspi1.Init.Direction = SPI_DIRECTION_2LINES;
  hspi1.Init.DataSize = SPI_DATASIZE_8BIT;
  hspi1.Init.CLKPolarity = SPI_POLARITY_LOW;
  hspi1.Init.CLKPhase = SPI_PHASE_1EDGE;
  hspi1.Init.NSS = SPI_NSS_SOFT;
  hspi1.Init.BaudRatePrescaler = SPI_BAUDRATEPRESCALER_8;
  hspi1.Init.FirstBit = SPI_FIRSTBIT_MSB;
  hspi1.Init.TIMode = SPI_TIMODE_DISABLE;
  hspi1.Init.CRCCalculation = SPI_CRCCALCULATION_DISABLE;
  hspi1.Init.CRCPolynomial = 0x0;
  hspi1.Init.NSSPMode = SPI_NSS_PULSE_ENABLE;
  hspi1.Init.NSSPolarity = SPI_NSS_POLARITY_LOW;
  hspi1.Init.FifoThreshold = SPI_FIFO_THRESHOLD_01DATA;
  hspi1.Init.TxCRCInitializationPattern = SPI_CRC_INITIALIZATION_ALL_ZERO_PATTERN;
  hspi1.Init.RxCRCInitializationPattern = SPI_CRC_INITIALIZATION_ALL_ZERO_PATTERN;
  hspi1.Init.MasterSSIdleness = SPI_MASTER_SS_IDLENESS_00CYCLE;
  hspi1.Init.MasterInterDataIdleness = SPI_MASTER_INTERDATA_IDLENESS_00CYCLE;
  hspi1.Init.MasterReceiverAutoSusp = SPI_MASTER_RX_AUTOSUSP_DISABLE;
  hspi1.Init.MasterKeepIOState = SPI_MASTER_KEEP_IO_STATE_DISABLE;
  hspi1.Init.IOSwap = SPI_IO_SWAP_DISABLE;
  if (HAL_SPI_Init(&hspi1) != HAL_OK)
  {
    Error_Handler();
  }

}

static void MX_UART8_Init(void)
{

  huart8.Instance = UART8;
  huart8.Init.BaudRate = 115200;
  huart8.Init.WordLength = UART_WORDLENGTH_8B;
  huart8.Init.StopBits = UART_STOPBITS_1;
  huart8.Init.Parity = UART_PARITY_NONE;
  huart8.Init.Mode = UART_MODE_TX_RX;
  huart8.Init.HwFlowCtl = UART_HWCONTROL_NONE;
  huart8.Init.OverSampling = UART_OVERSAMPLING_16;
  huart8.Init.OneBitSampling = UART_ONE_BIT_SAMPLE_DISABLE;
  huart8.Init.ClockPrescaler = UART_PRESCALER_DIV1;
  huart8.AdvancedInit.AdvFeatureInit = UART_ADVFEATURE_NO_INIT;
  if (HAL_UART_Init(&huart8) != HAL_OK)
  {
    Error_Handler();
  }
  if (HAL_UARTEx_SetTxFifoThreshold(&huart8, UART_TXFIFO_THRESHOLD_1_8) != HAL_OK)
  {
    Error_Handler();
  }
  if (HAL_UARTEx_SetRxFifoThreshold(&huart8, UART_RXFIFO_THRESHOLD_1_8) != HAL_OK)
  {
    Error_Handler();
  }
  if (HAL_UARTEx_DisableFifoMode(&huart8) != HAL_OK)
  {
    Error_Handler();
  }

}

static void MX_USART3_UART_Init(void)
{

  huart3.Instance = USART3;
  huart3.Init.BaudRate = 38400;
  huart3.Init.WordLength = UART_WORDLENGTH_8B;
  huart3.Init.StopBits = UART_STOPBITS_1;
  huart3.Init.Parity = UART_PARITY_NONE;
  huart3.Init.Mode = UART_MODE_TX_RX;
  huart3.Init.HwFlowCtl = UART_HWCONTROL_NONE;
  huart3.Init.OverSampling = UART_OVERSAMPLING_16;
  huart3.Init.OneBitSampling = UART_ONE_BIT_SAMPLE_DISABLE;
  huart3.Init.ClockPrescaler = UART_PRESCALER_DIV1;
  huart3.AdvancedInit.AdvFeatureInit = UART_ADVFEATURE_NO_INIT;
  if (HAL_UART_Init(&huart3) != HAL_OK)
  {
    Error_Handler();
  }
  if (HAL_UARTEx_SetTxFifoThreshold(&huart3, UART_TXFIFO_THRESHOLD_1_8) != HAL_OK)
  {
    Error_Handler();
  }
  if (HAL_UARTEx_SetRxFifoThreshold(&huart3, UART_RXFIFO_THRESHOLD_1_8) != HAL_OK)
  {
    Error_Handler();
  }
  if (HAL_UARTEx_DisableFifoMode(&huart3) != HAL_OK)
  {
    Error_Handler();
  }

}

static void MX_DMA_Init(void)
{

  /* DMA controller clock enable */
  __HAL_RCC_DMA1_CLK_ENABLE();

  /* DMA interrupt init */
  /* DMA1_Stream1_IRQn interrupt configuration */
  HAL_NVIC_SetPriority(DMA1_Stream1_IRQn, 0, 0);
  HAL_NVIC_EnableIRQ(DMA1_Stream1_IRQn);

}

static void MX_GPIO_Init(void)
{
  GPIO_InitTypeDef GPIO_InitStruct = {0};

  /* GPIO Ports Clock Enable */
  __HAL_RCC_GPIOE_CLK_ENABLE();
  __HAL_RCC_GPIOC_CLK_ENABLE();
  __HAL_RCC_GPIOH_CLK_ENABLE();
  __HAL_RCC_GPIOA_CLK_ENABLE();
  __HAL_RCC_GPIOB_CLK_ENABLE();
  __HAL_RCC_GPIOD_CLK_ENABLE();

  /*Configure GPIO pin Output Level */
  HAL_GPIO_WritePin(GPIOE, RS_485_TX_EN_Pin|RS_485_RX_EN_Pin, GPIO_PIN_RESET);

  /*Configure GPIO pin Output Level */
  HAL_GPIO_WritePin(GPIOA, TELE_CE_Pin|TELE_CS_Pin, GPIO_PIN_RESET);

  /*Configure GPIO pin Output Level */
  HAL_GPIO_WritePin(LED_GPIO_Port, LED_Pin, GPIO_PIN_RESET);

  /*Configure GPIO pin Output Level */
  HAL_GPIO_WritePin(GPS_RST_GPIO_Port, GPS_RST_Pin, GPIO_PIN_SET);

  /*Configure GPIO pins : RS_485_TX_EN_Pin RS_485_RX_EN_Pin */
  GPIO_InitStruct.Pin = RS_485_TX_EN_Pin|RS_485_RX_EN_Pin;
  GPIO_InitStruct.Mode = GPIO_MODE_OUTPUT_PP;
  GPIO_InitStruct.Pull = GPIO_NOPULL;
  GPIO_InitStruct.Speed = GPIO_SPEED_FREQ_LOW;
  HAL_GPIO_Init(GPIOE, &GPIO_InitStruct);

  /*Configure GPIO pins : TELE_CE_Pin TELE_CS_Pin */
  GPIO_InitStruct.Pin = TELE_CE_Pin|TELE_CS_Pin;
  GPIO_InitStruct.Mode = GPIO_MODE_OUTPUT_PP;
  GPIO_InitStruct.Pull = GPIO_NOPULL;
  GPIO_InitStruct.Speed = GPIO_SPEED_FREQ_LOW;
  HAL_GPIO_Init(GPIOA, &GPIO_InitStruct);

  /*Configure GPIO pin : TELE_IRQ_Pin */
  GPIO_InitStruct.Pin = TELE_IRQ_Pin;
  GPIO_InitStruct.Mode = GPIO_MODE_IT_RISING;
  GPIO_InitStruct.Pull = GPIO_NOPULL;
  HAL_GPIO_Init(TELE_IRQ_GPIO_Port, &GPIO_InitStruct);

  /*Configure GPIO pin : LED_Pin */
  GPIO_InitStruct.Pin = LED_Pin;
  GPIO_InitStruct.Mode = GPIO_MODE_OUTPUT_PP;
  GPIO_InitStruct.Pull = GPIO_NOPULL;
  GPIO_InitStruct.Speed = GPIO_SPEED_FREQ_LOW;
  HAL_GPIO_Init(LED_GPIO_Port, &GPIO_InitStruct);

  /*Configure GPIO pin : BTN_INT_Pin */
  GPIO_InitStruct.Pin = BTN_INT_Pin;
  GPIO_InitStruct.Mode = GPIO_MODE_IT_RISING;
  GPIO_InitStruct.Pull = GPIO_NOPULL;
  HAL_GPIO_Init(BTN_INT_GPIO_Port, &GPIO_InitStruct);

  /*Configure GPIO pin : GPS_RST_Pin */
  GPIO_InitStruct.Pin = GPS_RST_Pin;
  GPIO_InitStruct.Mode = GPIO_MODE_OUTPUT_PP;
  GPIO_InitStruct.Pull = GPIO_NOPULL;
  GPIO_InitStruct.Speed = GPIO_SPEED_FREQ_LOW;
  HAL_GPIO_Init(GPS_RST_GPIO_Port, &GPIO_InitStruct);

  /*Configure GPIO pin : CARD_DET_Pin */
  GPIO_InitStruct.Pin = CARD_DET_Pin;
  GPIO_InitStruct.Mode = GPIO_MODE_INPUT;
  GPIO_InitStruct.Pull = GPIO_NOPULL;
  HAL_GPIO_Init(CARD_DET_GPIO_Port, &GPIO_InitStruct);

  /* EXTI interrupt init*/
  HAL_NVIC_SetPriority(EXTI9_5_IRQn, 0, 0);
  HAL_NVIC_EnableIRQ(EXTI9_5_IRQn);

}

/* USER CODE BEGIN 4 */

void HAL_GPIO_EXTI_Callback(uint16_t GPIO_Pin)
{
  /* Prevent unused argument(s) compilation warning */
  UNUSED(GPIO_Pin);

  /* NOTE: This function Should not be modified, when the callback is needed,
           the HAL_GPIO_EXTI_Callback could be implemented in the user file
   */

  RTC_TimeTypeDef sTime = {0};
  RTC_DateTypeDef sDate = {0};
  sTime.Hours = 16;
    sTime.Minutes = 8;
    sTime.Seconds = 0;
    sTime.DayLightSaving = RTC_DAYLIGHTSAVING_NONE;
    sTime.StoreOperation = RTC_STOREOPERATION_RESET;
    if (HAL_RTC_SetTime(&hrtc, &sTime, RTC_FORMAT_BIN) != HAL_OK)
    {
      Error_Handler();
    }
    sDate.WeekDay = RTC_WEEKDAY_WEDNESDAY;
    sDate.Month = RTC_MONTH_MAY;
    sDate.Date = 19;
    sDate.Year = 21;

    if (HAL_RTC_SetDate(&hrtc, &sDate, RTC_FORMAT_BIN) != HAL_OK)
    {
      Error_Handler();
    }

}
void HAL_PWR_PVDCallback (void)
{
  /* NOTE : This function should not be modified, when the callback is needed,
            the HAL_PWR_PVDCallback can be implemented in the user file
  */
	//HAL_GPIO_TogglePin(GPIOB, GPIO_PIN_0);
	end_flag = 0;
}
/* USER CODE END 4 */

void Error_Handler(void)
{
  /* USER CODE BEGIN Error_Handler_Debug */
  /* User can add his own implementation to report the HAL error return state */
  __disable_irq();
  while (1)
  {
	  printf("Error Handler\n");
  }
  /* USER CODE END Error_Handler_Debug */
}

/************************ (C) COPYRIGHT STMicroelectronics *****END OF FILE****/
